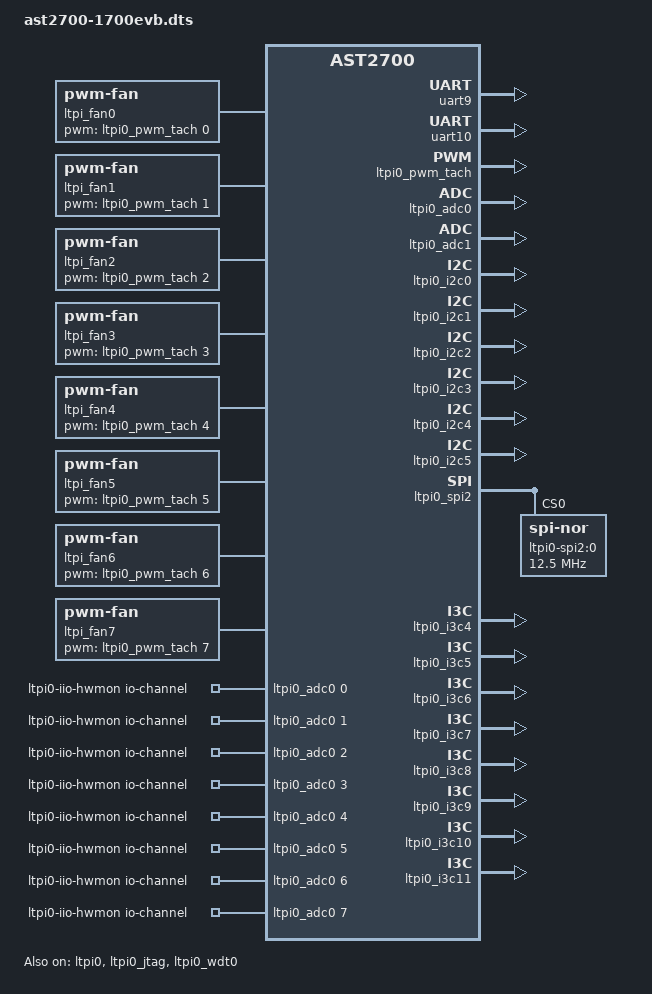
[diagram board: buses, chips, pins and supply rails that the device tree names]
// SPDX-License-Identifier: GPL-2.0-or-later

/dts-v1/;

#include "ast2700-evb.dts"
#include "aspeed-ltpi0.dtsi"

/ {
	/delete-node/ fan0;
	/delete-node/ fan1;
	/delete-node/ fan2;
	/delete-node/ fan3;
	/delete-node/ fan4;
	/delete-node/ fan5;
	/delete-node/ fan6;
	/delete-node/ fan7;

	ltpi_fan0: ltpi-pwm-fan0 {
		compatible = "pwm-fan";
		pwms = <&ltpi0_pwm_tach 0 40000 0>;	/* Target freq:25 kHz */
		cooling-min-state = <0>;
		cooling-max-state = <3>;
		#cooling-cells = <2>;
		cooling-levels = <0 15 128 255>;
	};

	ltpi_fan1: ltpi-pwm-fan1 {
		compatible = "pwm-fan";
		pwms = <&ltpi0_pwm_tach 1 40000 0>;	/* Target freq:25 kHz */
		cooling-min-state = <0>;
		cooling-max-state = <3>;
		#cooling-cells = <2>;
		cooling-levels = <0 15 128 255>;
	};

	ltpi_fan2: ltpi-pwm-fan2 {
		compatible = "pwm-fan";
		pwms = <&ltpi0_pwm_tach 2 40000 0>;	/* Target freq:25 kHz */
		cooling-min-state = <0>;
		cooling-max-state = <3>;
		#cooling-cells = <2>;
		cooling-levels = <0 15 128 255>;
	};

	ltpi_fan3: ltpi-pwm-fan3 {
		compatible = "pwm-fan";
		pwms = <&ltpi0_pwm_tach 3 40000 0>;	/* Target freq:25 kHz */
		cooling-min-state = <0>;
		cooling-max-state = <3>;
		#cooling-cells = <2>;
		cooling-levels = <0 15 128 255>;
	};

	ltpi_fan4: ltpi-pwm-fan4 {
		compatible = "pwm-fan";
		pwms = <&ltpi0_pwm_tach 4 40000 0>;	/* Target freq:25 kHz */
		cooling-min-state = <0>;
		cooling-max-state = <3>;
		#cooling-cells = <2>;
		cooling-levels = <0 15 128 255>;
	};

	ltpi_fan5: ltpi-pwm-fan5 {
		compatible = "pwm-fan";
		pwms = <&ltpi0_pwm_tach 5 40000 0>;	/* Target freq:25 kHz */
		cooling-min-state = <0>;
		cooling-max-state = <3>;
		#cooling-cells = <2>;
		cooling-levels = <0 15 128 255>;
	};

	ltpi_fan6: ltpi-pwm-fan6 {
		compatible = "pwm-fan";
		pwms = <&ltpi0_pwm_tach 6 40000 0>;	/* Target freq:25 kHz */
		cooling-min-state = <0>;
		cooling-max-state = <3>;
		#cooling-cells = <2>;
		cooling-levels = <0 15 128 255>;
	};

	ltpi_fan7: ltpi-pwm-fan7 {
		compatible = "pwm-fan";
		pwms = <&ltpi0_pwm_tach 7 40000 0>;	/* Target freq:25 kHz */
		cooling-min-state = <0>;
		cooling-max-state = <3>;
		#cooling-cells = <2>;
		cooling-levels = <0 15 128 255>;
	};

	ltpi0-iio-hwmon {
		compatible = "iio-hwmon";
		io-channels = <&ltpi0_adc0 0>, <&ltpi0_adc0 1>, <&ltpi0_adc0 2>, <&ltpi0_adc0 3>,
				<&ltpi0_adc0 4>, <&ltpi0_adc0 5>, <&ltpi0_adc0 6>, <&ltpi0_adc0 7>,
				<&ltpi0_adc1 0>, <&ltpi0_adc1 1>, <&ltpi0_adc1 2>, <&ltpi0_adc1 3>,
				<&ltpi0_adc1 4>, <&ltpi0_adc1 5>, <&ltpi0_adc1 6>, <&ltpi0_adc1 7>;
	};
};

&ltpi0 {
	status = "okay";
};

&uart9 {
	/delete-property/ pinctrl-names;
	/delete-property/ pinctrl-0;
	status = "okay";
};

&uart10 {
	/delete-property/ pinctrl-names;
	/delete-property/ pinctrl-0;
	status = "okay";
};

&pwm_tach {
	pinctrl-0 = <&pinctrl_pwm8_default &pinctrl_pwm9_default
		     &pinctrl_pwm10_default &pinctrl_pwm11_default
		     &pinctrl_pwm12_default &pinctrl_pwm13_default
		     &pinctrl_pwm14_default &pinctrl_pwm15_default>;

	/delete-node/fan-0;
	/delete-node/fan-1;
	/delete-node/fan-2;
	/delete-node/fan-3;
	/delete-node/fan-4;
	/delete-node/fan-5;
	/delete-node/fan-6;
	/delete-node/fan-7;
	/delete-node/fan-8;
	/delete-node/fan-9;
	/delete-node/fan-10;
	/delete-node/fan-11;
	/delete-node/fan-12;
	/delete-node/fan-13;
	/delete-node/fan-14;
	/delete-node/fan-15;
};

&ltpi0_pwm_tach {
	status = "okay";
	ltpi0-fan-0 {
		tach-ch = /bits/ 8 <0x0>;
	};
	ltpi0-fan-1 {
		tach-ch = /bits/ 8 <0x1>;
	};
	ltpi0-fan-2 {
		tach-ch = /bits/ 8 <0x2>;
	};
	ltpi0-fan-3 {
		tach-ch = /bits/ 8 <0x3>;
	};
	ltpi0-fan-4 {
		tach-ch = /bits/ 8 <0x4>;
	};
	ltpi0-fan-5 {
		tach-ch = /bits/ 8 <0x5>;
	};
	ltpi0-fan-6 {
		tach-ch = /bits/ 8 <0x6>;
	};
	ltpi0-fan-7 {
		tach-ch = /bits/ 8 <0x7>;
	};
	ltpi0-fan-8 {
		tach-ch = /bits/ 8 <0x8>;
	};
	ltpi0-fan-9 {
		tach-ch = /bits/ 8 <0x9>;
	};
	ltpi0-fan-10 {
		tach-ch = /bits/ 8 <0xA>;
	};
	ltpi0-fan-11 {
		tach-ch = /bits/ 8 <0xB>;
	};
	ltpi0-fan-12 {
		tach-ch = /bits/ 8 <0xC>;
	};
	ltpi0-fan-13 {
		tach-ch = /bits/ 8 <0xD>;
	};
	ltpi0-fan-14 {
		tach-ch = /bits/ 8 <0xE>;
	};
	ltpi0-fan-15 {
		tach-ch = /bits/ 8 <0xF>;
	};
};

&ltpi0_jtag {
	status = "okay";
};

&ltpi0_adc0 {
	aspeed,int-vref-microvolt = <2500000>;
	status = "okay";
};

&ltpi0_adc1 {
	aspeed,int-vref-microvolt = <2500000>;
	status = "okay";
};

&ltpi0_i2c0 {
	status = "okay";
};

&ltpi0_i2c1 {
	status = "okay";
};

&ltpi0_i2c2 {
	status = "okay";
};

&ltpi0_i2c3 {
	status = "okay";
};

&ltpi0_i2c4 {
	status = "okay";
};

&ltpi0_i2c5 {
	status = "okay";
};

&ltpi0_spi2 {
	compatible = "aspeed,ast2700-spi";
	status = "okay";

	flash@0 {
		status = "okay";
		reg = < 0 >;
		compatible = "jedec,spi-nor";
		m25p,fast-read;
		label = "ltpi0-spi2:0";
		spi-max-frequency = <12500000>;
		spi-tx-bus-width = <2>;
		spi-rx-bus-width = <2>;
	};
};

&i3c0 {
	status = "disabled";
};

&i3c1 {
	status = "disabled";
};

&i3c2 {
	status = "disabled";
};

&i3c3 {
	status = "disabled";
};

&i3c4 {
	status = "disabled";
};

&i3c5 {
	status = "disabled";
};

&i3c6 {
	status = "disabled";
};

&i3c7 {
	status = "disabled";
};

&i3c8 {
	status = "disabled";
};

&i3c9 {
	status = "disabled";
};

&i3c10 {
	status = "disabled";
};

&i3c11 {
	status = "disabled";
};

&i3c12 {
	status = "disabled";
};

&i3c13 {
	status = "disabled";
};

&i3c14 {
	status = "disabled";
};

&i3c15 {
	status = "disabled";
};

&ltpi0_i3c4 {
	initial-role = "target";
	pid = <0x000007ec 0x06000000>;
	dcr = /bits/ 8 <0xcc>;
	status = "okay";
};

&ltpi0_i3c5 {
	initial-role = "primary";
	status = "okay";
};

&ltpi0_i3c6 {
	initial-role = "target";
	pid = <0x000007ec 0x06000000>;
	dcr = /bits/ 8 <0xcc>;
	status = "okay";
};

&ltpi0_i3c7 {
	initial-role = "primary";
	status = "okay";
};

&ltpi0_i3c8 {
	initial-role = "target";
	pid = <0x000007ec 0x06000000>;
	dcr = /bits/ 8 <0xcc>;
	status = "okay";
};

&ltpi0_i3c9 {
	initial-role = "primary";
	status = "okay";
};

&ltpi0_i3c10 {
	initial-role = "target";
	pid = <0x000007ec 0x06000000>;
	dcr = /bits/ 8 <0xcc>;
	status = "okay";
};

&ltpi0_i3c11 {
	initial-role = "primary";
	status = "okay";
};

&ltpi0_wdt0 {
	aspeed,reset-type = "system";
	status = "okay";
};
